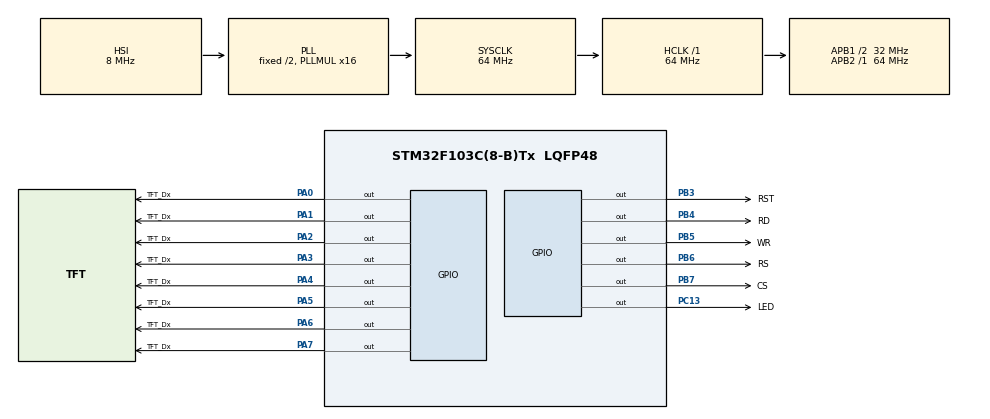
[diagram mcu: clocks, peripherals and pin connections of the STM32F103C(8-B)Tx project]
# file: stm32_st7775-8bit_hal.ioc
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Mcu.Family=STM32F1
PC13-TAMPER-RTC.Signal=GPIO_Output
PA6.GPIO_Label=TFT_Dx
PB6.GPIO_Label=RS
RCC.APB1CLKDivider=RCC_HCLK_DIV2
RCC.SYSCLKSource=RCC_SYSCLKSOURCE_PLLCLK
ProjectManager.StackSize=0x400
PA0-WKUP.GPIO_Label=TFT_Dx
PA0-WKUP.Signal=GPIO_Output
RCC.ADCPresc=RCC_ADCPCLK2_DIV6
PA13.Signal=SYS_JTMS-SWDIO
ProjectManager.TargetToolchain=Makefile
RCC.HCLKFreq_Value=64000000
RCC.APB2TimFreq_Value=64000000
PB6.Signal=GPIO_Output
RCC.USBFreq_Value=64000000
PA1.Signal=GPIO_Output
RCC.AHBFreq_Value=64000000
PA5.Signal=GPIO_Output
board=stm32_st7775-8bit_hal
PC13-TAMPER-RTC.GPIO_Label=LED
RCC.PLLMUL=RCC_PLL_MUL16
RCC.APB2Freq_Value=64000000
PB4.GPIO_Label=RD
PA14.Mode=Serial_Wire
PA1.GPIO_Label=TFT_Dx
PB7.Signal=GPIO_Output
PA13.Mode=Serial_Wire
Mcu.Name=STM32F103C(8-B)Tx
PA2.Signal=GPIO_Output
PB7.GPIO_Label=CS
PB3.Signal=GPIO_Output
PA4.Signal=GPIO_Output
RCC.SYSCLKFreq_VALUE=64000000
Mcu.Package=LQFP48
PB5.Signal=GPIO_Output
PA6.Signal=GPIO_Output
PA7.GPIO_Label=TFT_Dx
PA5.GPIO_Label=TFT_Dx
PA2.GPIO_Label=TFT_Dx
PA14.Signal=SYS_JTCK-SWCLK
ProjectManager.HeapSize=0x200
NVIC.PriorityGroup=NVIC_PRIORITYGROUP_4
PB5.GPIO_Label=WR
RCC.APB1TimFreq_Value=64000000
RCC.APB1Freq_Value=32000000
PA4.GPIO_Label=TFT_Dx
PB4.Signal=GPIO_Output
PA3.GPIO_Label=TFT_Dx
PA3.Signal=GPIO_Output
PA7.Signal=GPIO_Output
PB3.GPIO_Label=RST

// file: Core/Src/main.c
/* USER CODE BEGIN Header */
/**
  ******************************************************************************
  * @file           : main.c
  * @brief          : Main program body
  ******************************************************************************
  * @attention
  *
  * <h2><center>&copy; Copyright (c) 2021 STMicroelectronics.
  * All rights reserved.</center></h2>
  *
  * This software component is licensed by ST under BSD 3-Clause license,
  * the "License"; You may not use this file except in compliance with the
  * License. You may obtain a copy of the License at:
  *                        opensource.org/licenses/BSD-3-Clause
  *
  ******************************************************************************
  */
/* USER CODE END Header */
#include "main.h"
#include "gpio.h"

/* USER CODE BEGIN Includes */
#include "st7775.h"

/* USER CODE END Includes */

/* USER CODE BEGIN PV */
/* Private variables ---------------------------------------------------------*/

/* USER CODE END PV */

void SystemClock_Config(void);
/* USER CODE BEGIN PFP */
/* Private function prototypes -----------------------------------------------*/

/* USER CODE END PFP */

int main(void)
{

  /* MCU Configuration--------------------------------------------------------*/

  /* Reset of all peripherals, Initializes the Flash interface and the Systick. */
  HAL_Init();

  /* Configure the system clock */
  SystemClock_Config();

  /* Initialize all configured peripherals */
  MX_GPIO_Init();
  /* USER CODE BEGIN 2 */
  InitDisplay();
  ClearDisplay();

  /* USER CODE END 2 */

  /* Infinite loop */
  /* USER CODE BEGIN WHILE */

  while (1)
  {
    DrawArea(0,0, 50,50, COLOR_CYAN);
    DrawHLine(10, 20, 50, COLOR_RED);
    fillCircle(130,35, 30, COLOR_YELLOW);
    fillCircle(160,75, 30, COLOR_BLUE);
    fillCircle(180,105, 10, COLOR_PINK);
//     DrawShape8x8(100,50, 9, 5, 1, 0, 0);

    for(uint8_t i = 0;i<255;i++)
    {
      ScrollLeft();
      HAL_Delay(10);
    }

    for(uint8_t i = 0;i<255;i++)
    {
      ScrollRight();
      HAL_Delay(10);
    }
    //ClearDisplay();

    DrawArea(55,55, 40,40, COLOR_WHITE);
    DrawArea(100,100, 30,30, COLOR_ORANGE);
    DrawArea(135,135, 20,20, COLOR_GREENYELLOW);
//     HAL_Delay(1);

    /* USER CODE END WHILE */

  }
}

void SystemClock_Config(void)
{
  RCC_OscInitTypeDef RCC_OscInitStruct = {0};
  RCC_ClkInitTypeDef RCC_ClkInitStruct = {0};

  /** Initializes the RCC Oscillators according to the specified parameters
  * in the RCC_OscInitTypeDef structure.
  */
  RCC_OscInitStruct.OscillatorType = RCC_OSCILLATORTYPE_HSI;
  RCC_OscInitStruct.HSIState = RCC_HSI_ON;
  RCC_OscInitStruct.HSICalibrationValue = RCC_HSICALIBRATION_DEFAULT;
  RCC_OscInitStruct.PLL.PLLState = RCC_PLL_ON;
  RCC_OscInitStruct.PLL.PLLSource = RCC_PLLSOURCE_HSI_DIV2;
  RCC_OscInitStruct.PLL.PLLMUL = RCC_PLL_MUL16;
  if (HAL_RCC_OscConfig(&RCC_OscInitStruct) != HAL_OK)
  {
    Error_Handler();
  }
  /** Initializes the CPU, AHB and APB buses clocks
  */
  RCC_ClkInitStruct.ClockType = RCC_CLOCKTYPE_HCLK|RCC_CLOCKTYPE_SYSCLK
                              |RCC_CLOCKTYPE_PCLK1|RCC_CLOCKTYPE_PCLK2;
  RCC_ClkInitStruct.SYSCLKSource = RCC_SYSCLKSOURCE_PLLCLK;
  RCC_ClkInitStruct.AHBCLKDivider = RCC_SYSCLK_DIV1;
  RCC_ClkInitStruct.APB1CLKDivider = RCC_HCLK_DIV2;
  RCC_ClkInitStruct.APB2CLKDivider = RCC_HCLK_DIV1;

  if (HAL_RCC_ClockConfig(&RCC_ClkInitStruct, FLASH_LATENCY_2) != HAL_OK)
  {
    Error_Handler();
  }
}

void Error_Handler(void)
{
  while(1)
  {
  }
}

/************************ (C) COPYRIGHT STMicroelectronics *****END OF FILE****/
